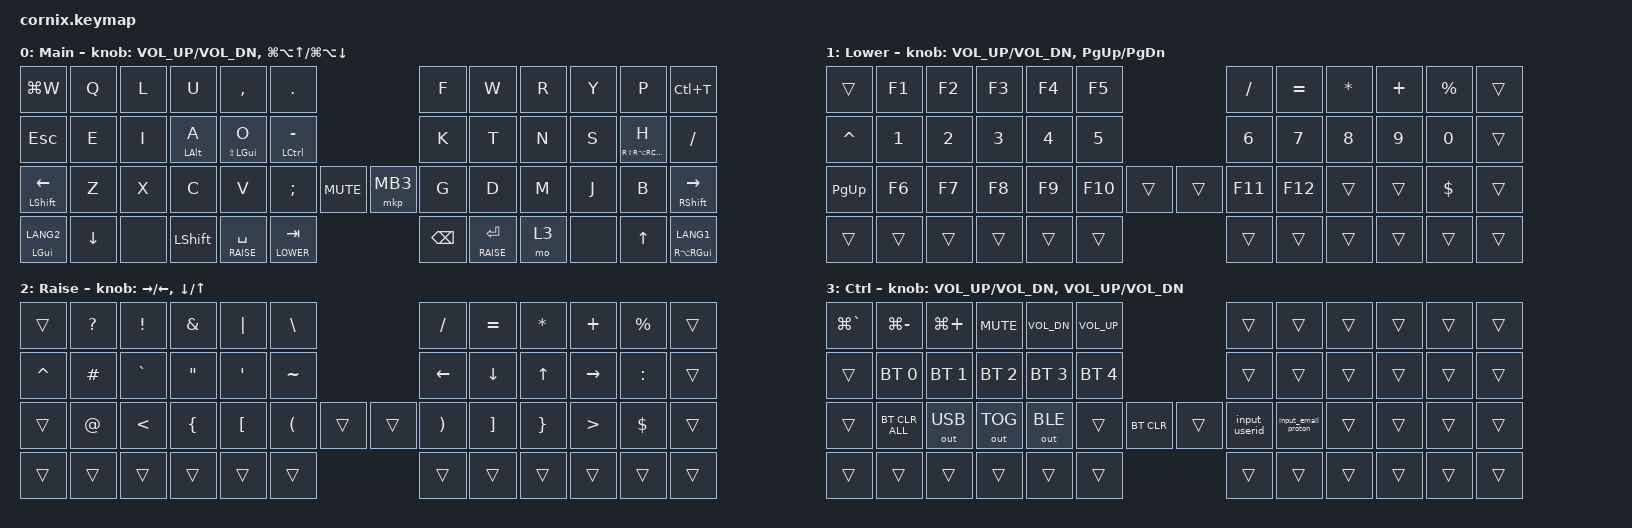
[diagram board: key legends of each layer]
#include <behaviors.dtsi>
#include <dt-bindings/zmk/bt.h>
#include <dt-bindings/zmk/keys.h>
#include <dt-bindings/zmk/outputs.h>
#include <dt-bindings/zmk/pointing.h>

// Layer definitions

#define MAIN     0
#define LOWER    1
#define RAISE    2
#define CONTROL  3

// layer-tap settings

&lt {
    tapping-term-ms = <200>;
    hold-trigger-on-release;
};

/ {
    behaviors {
        HRM: homerow_mods {
            compatible = "zmk,behavior-hold-tap";
            #binding-cells = <2>;
            flavor = "balanced";
            tapping-term-ms = <300>;
            quick-tap-ms = <200>;
            require-prior-idle-ms = <200>;
            hold-trigger-on-release;
            bindings = <&kp>, <&kp>;

            display-name = "HRM";
        };

        SandS: SandS {
            compatible = "zmk,behavior-hold-tap";
            #binding-cells = <2>;
            flavor = "balanced";
            tapping-term-ms = <200>;
            bindings = <&kp>, <&kp>;

            display-name = "SandS";
        };
    };
};

/ {
    macros {
        input_userid: input_userid {
            compatible = "zmk,behavior-macro";
            #binding-cells = <0>;
            bindings = <&kp R &kp N1 &kp C &kp LS(A) &kp N1 &kp N8>;
        };

        input_email_proton: input_email_proton {
            compatible = "zmk,behavior-macro";
            #binding-cells = <0>;
            bindings = <&kp R &kp N1 &kp C &kp LS(A) &kp N1 &kp N8 &kp AT &kp P &kp R &kp O &kp T &kp O &kp N &kp DOT &kp M &kp E>;
        };

        bt_mac: bt_mac {
            compatible = "zmk,behavior-macro";
            #binding-cells = <0>;
            bindings = <&bt BT_SEL 0 &to MAIN>;
        };
    };
};

/ {
    keymap {
        compatible = "zmk,keymap";

        // ==================== MAIN LAYER (Onishi) ====================
        //
        //  LG(W)  Q  L  U  ,  .        F  W  R  Y  P  LC(T)
        //  ESC    E  I  A  O  -        K  T  N  S  H  -
        //  LS/L   Z  X  C  V  ;  MUTE  MB3  G  D  M  J  B  RS/R
        //  L2/G  DN  --  LS  R/SPC  L/TAB    BSP  R/ENT  CTRL  --  UP  L1/H

        main_layer {
            display-name = "Main";
            sensor-bindings =
                <&inc_dec_kp C_VOL_UP C_VOL_DN>,
                <&inc_dec_kp LG(LA(UP)) LG(LA(DOWN))>;

            bindings = <
&kp LG(W)              &kp Q     &kp L  &kp U            &kp COMMA            &kp DOT                                        &kp F     &kp W            &kp R  &kp Y  &kp P                         &kp LC(T)
&kp ESC                &kp E     &kp I  &HRM LEFT_ALT A  &HRM LS(LEFT_GUI) O  &HRM LEFT_CONTROL MINUS                        &kp K     &kp T            &kp N  &kp S  &HRM RS(RA(RC(RIGHT_GUI))) H  &kp SLASH
&HRM LEFT_SHIFT LEFT   &kp Z     &kp X  &kp C            &kp V                &kp SEMI                 &kp K_MUTE  &mkp MB3  &kp G     &kp D            &kp M  &kp J  &kp B                         &HRM RIGHT_SHIFT RIGHT
&SandS LEFT_GUI LANG2  &kp DOWN  &none  &kp LEFT_SHIFT   &lt RAISE SPACE      &lt LOWER TAB                                  &kp BSPC  &lt RAISE ENTER  &mo 3  &none  &kp UP                        &SandS RA(RIGHT_GUI) LANG1
            >;
        };

        // ========== Lower Layer (Numbers/F-keys) ==========

        lower_layer {
            display-name = "Lower";
            sensor-bindings = <&inc_dec_kp C_VOL_UP C_VOL_DN &inc_dec_kp PG_UP PG_DN>;
            bindings = <
&trans     &kp F1  &kp F2  &kp F3  &kp F4  &kp F5                   &kp FSLH  &kp EQUAL  &kp STAR  &kp PLUS  &kp PRCNT  &trans
&kp CARET  &kp N1  &kp N2  &kp N3  &kp N4  &kp N5                   &kp N6    &kp N7     &kp N8    &kp N9    &kp N0     &trans
&kp PG_UP  &kp F6  &kp F7  &kp F8  &kp F9  &kp F10  &trans  &trans  &kp F11   &kp F12    &trans    &trans    &kp DLLR   &trans
&trans     &trans  &trans  &trans  &trans  &trans                   &trans    &trans     &trans    &trans    &trans     &trans
            >;
        };

        // ========== Raise Layer (Symbols/Navigation) ==========

        raise_layer {
            display-name = "Raise";
            sensor-bindings = <&inc_dec_kp RIGHT LEFT &inc_dec_kp DOWN UP>;
            bindings = <
&trans     &kp QMARK  &kp EXCL   &kp AMPS  &kp PIPE  &kp BSLH                   &kp FSLH  &kp EQUAL  &kp STAR  &kp PLUS   &kp PRCNT  &trans
&kp CARET  &kp POUND  &kp GRAVE  &kp DQT   &kp SQT   &kp TILDE                  &kp LEFT  &kp DOWN   &kp UP    &kp RIGHT  &kp COLON  &trans
&trans     &kp AT     &kp LT     &kp LBRC  &kp LBKT  &kp LPAR   &trans  &trans  &kp RPAR  &kp RBKT   &kp RBRC  &kp GT     &kp DLLR   &trans
&trans     &trans     &trans     &trans    &trans    &trans                     &trans    &trans     &trans    &trans     &trans     &trans
            >;
        };

        // ========== Control Layer (BT/System) ==========

        control_layer {
            display-name = "Ctrl";
            sensor-bindings = <&inc_dec_kp C_VOL_UP C_VOL_DN &inc_dec_kp C_VOL_UP C_VOL_DN>;
            bindings = <
&kp LG(GRAVE)  &kp LG(MINUS)   &kp LG(PLUS)  &kp C_MUTE    &kp C_VOL_DN  &kp C_VOL_UP                      &trans         &trans               &trans  &trans  &trans  &trans
&trans         &bt BT_SEL 0    &bt BT_SEL 1  &bt BT_SEL 2  &bt BT_SEL 3  &bt BT_SEL 4                      &trans         &trans               &trans  &trans  &trans  &trans
&trans         &bt BT_CLR_ALL  &out OUT_USB  &out OUT_TOG  &out OUT_BLE  &trans        &bt BT_CLR  &trans  &input_userid  &input_email_proton  &trans  &trans  &trans  &trans
&trans         &trans          &trans        &trans        &trans        &trans                            &trans         &trans               &trans  &trans  &trans  &trans
            >;
        };
    };
};
